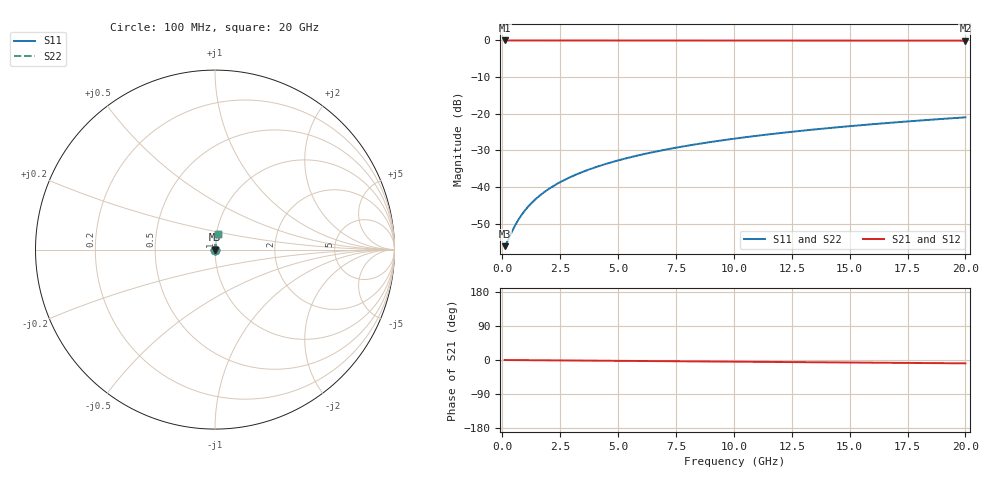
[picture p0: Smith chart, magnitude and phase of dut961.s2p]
! Touchstone file exported from HFSS 2026.1.0
!  File:  C:/ffzhzh/LocalFiles/Ansys_Project_Files/temp_train_TSV_961_1783187528_22436.aedt
!  Generated:  01:54:33 AM Jul  5, 2026
!  Design:  TSV
!  Project:  temp_train_TSV_961_1783187528_22436
! Variables:
!  h_bsmrdl = 2um
!  h_ox = 20um
!  h_rdl = 5um
!  h_sub = 72.46um
!  h_tmrdl = 5um
!  h_tsv = 72.46um
!  h_via = 3um
!  l_bsmrdl = 300um
!  l_sub = 404.74um
!  l_tmrdl = 200um
!  m_sub = 200um
!  pitch = 29.49um
!  r_tsv = 2.37um
!  s_tmrdl = 10um
!  w_bsmrdl = 18um
!  w_sub = 500um
!  w_tmrdl = 12um
!  x_tsv_center1 = 206um
!  x_tsv_center2 = 524um
!  x_tsv_center3 = 736um
!  x_tsv_center4 = 1054um
!  x_tsv_center5 = 1266um
!  x_tsv_center6 = 1584um
# GHz S MA R 50.000000
! Terminal data exported
! Port[1] = TSV1_1_T1
! Port[2] = TSV1_1_T2
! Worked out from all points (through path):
!   200 points, 100 MHz to 20 GHz, reference 50 ohm
!   highest |S21| = -0.01 dB at 100 MHz (marker M1); lowest = -0.1 dB at 20 GHz (marker M2)
!   group delay of S21, straight-line fit = 1.23 ps
!   lowest |S11| = -56.1 dB at 100 MHz (marker M3), VSWR 1.00, Z = 50.1 + j0.0473 ohm
!   |S11| at or under -10 dB: start of sweep to end of sweep
!   |S22| runs from -56.1 to -21.0 dB; largest |S21 - S12| = 7.9e-15
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0.1  0.001567 17.5  0.9985 -0.0  0.9985 -0.0  0.001567 17.5
! Gamma 0 0 0 0
! Port Impedance 50 0 50 0
0.2  0.001771 32.1  0.9985 -0.1  0.9985 -0.1  0.001771 32.1
0.5  0.002795 56.8  0.9985 -0.2  0.9985 -0.2  0.002795 56.8
0.7  0.003614 64.6  0.9985 -0.3  0.9985 -0.3  0.003614 64.6
0.8  0.00404 67.2  0.9985 -0.4  0.9985 -0.4  0.00404 67.2
1  0.00491 71.1  0.9984 -0.5  0.9984 -0.5  0.00491 71.1
1.2  0.005796 73.8  0.9984 -0.5  0.9984 -0.5  0.005796 73.8
1.4  0.006691 75.8  0.9984 -0.6  0.9984 -0.6  0.006691 75.8
1.8  0.008499 78.4  0.9984 -0.8  0.9984 -0.8  0.008499 78.4
2.3  0.01078 80.3  0.9983 -1.0  0.9983 -1.0  0.01078 80.3
2.9  0.01352 81.6  0.9983 -1.3  0.9983 -1.3  0.01352 81.6
3.5  0.01627 82.4  0.9982 -1.6  0.9982 -1.6  0.01627 82.4
4.2  0.01947 82.9  0.998 -1.9  0.998 -1.9  0.01947 82.9
5  0.02313 83.2  0.9979 -2.2  0.9979 -2.2  0.02313 83.2
5.9  0.02723 83.2  0.9977 -2.6  0.9977 -2.6  0.02723 83.2
6.8  0.03131 83.2  0.9974 -3.0  0.9974 -3.0  0.03131 83.2
8.3  0.03808 82.9  0.997 -3.7  0.997 -3.7  0.03808 82.9
10.1  0.04615 82.4  0.9964 -4.5  0.9964 -4.5  0.04615 82.4
11.7  0.05325 81.8  0.9958 -5.2  0.9958 -5.2  0.05325 81.8
13.4  0.06075 81.2  0.9952 -6.0  0.9952 -6.0  0.06075 81.2
16.7  0.07517 80.0  0.9938 -7.4  0.9938 -7.4  0.07517 80.0
20  0.08941 78.8  0.9922 -8.8  0.9922 -8.8  0.08941 78.8
